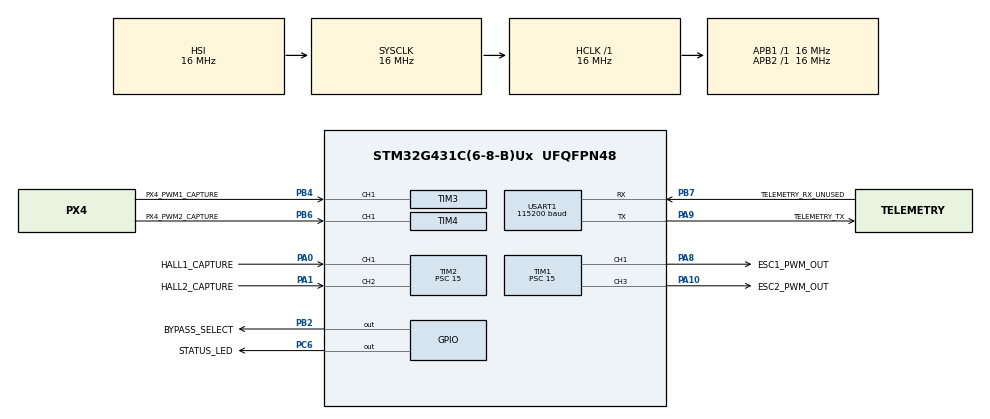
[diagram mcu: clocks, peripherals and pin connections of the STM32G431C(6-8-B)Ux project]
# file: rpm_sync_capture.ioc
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Mcu.Family=STM32G4
Mcu.Name=STM32G431C(6-8-B)Ux
Mcu.Package=UFQFPN48
NVIC.PriorityGroup=NVIC_PRIORITYGROUP_4
NVIC.TIM2_IRQn=true\:0\:0\:false\:false\:true\:true\:true\:true
NVIC.TIM3_IRQn=true\:1\:0\:false\:false\:true\:true\:true\:true
NVIC.TIM4_IRQn=true\:1\:0\:false\:false\:true\:true\:true\:true
PA0.GPIO_Label=HALL1_CAPTURE
PA0.Signal=S_TIM2_CH1
PA1.GPIO_Label=HALL2_CAPTURE
PA1.Signal=S_TIM2_CH2
PB4.GPIO_Label=PX4_PWM1_CAPTURE
PB4.Signal=S_TIM3_CH1
PA8.GPIO_Label=ESC1_PWM_OUT
PA8.Signal=S_TIM1_CH1
PA10.GPIO_Label=ESC2_PWM_OUT
PA10.Signal=S_TIM1_CH3
PA13.Mode=Serial_Wire
PA13.Signal=SYS_JTMS-SWDIO
PA14.Mode=Serial_Wire
PA14.Signal=SYS_JTCK-SWCLK
PB6.GPIO_Label=PX4_PWM2_CAPTURE
PB6.Signal=S_TIM4_CH1
PA9.GPIO_Label=TELEMETRY_TX
PA9.Mode=Asynchronous
PA9.Signal=USART1_TX
PB7.GPIO_Label=TELEMETRY_RX_UNUSED
PB7.Mode=Asynchronous
PB7.Signal=USART1_RX
PC6.GPIO_Label=STATUS_LED
PC6.GPIO_Speed=GPIO_SPEED_FREQ_LOW
PC6.PinState=GPIO_PIN_RESET
PC6.Signal=GPIO_Output
PB2.GPIO_Label=BYPASS_SELECT
PB2.GPIO_Speed=GPIO_SPEED_FREQ_LOW
PB2.PinState=GPIO_PIN_RESET
PB2.Signal=GPIO_Output
ProjectManager.HeapSize=0x200
ProjectManager.StackSize=0x400
ProjectManager.TargetToolchain=STM32CubeIDE
RCC.ADC12Freq_Value=16000000
RCC.AHBFreq_Value=16000000
RCC.APB1Freq_Value=16000000
RCC.APB1TimFreq_Value=16000000
RCC.APB2Freq_Value=16000000
RCC.APB2TimFreq_Value=16000000
RCC.CortexFreq_Value=16000000
RCC.EXTERNAL_CLOCK_VALUE=12288000
RCC.HCLKFreq_Value=16000000
RCC.HSE_VALUE=8000000
RCC.HSI48_VALUE=48000000
RCC.HSI_VALUE=16000000
RCC.LSE_VALUE=32768
RCC.SYSCLKFreq_VALUE=16000000
RCC.USBFreq_Value=64000000
RCC.VCOOutputFreq_Value=128000000
SH.S_TIM2_CH1.0=TIM2_CH1,Input_Capture1_from_TI1
SH.S_TIM2_CH2.0=TIM2_CH2,Input_Capture2_from_TI2
SH.S_TIM3_CH1.0=TIM3_CH1,PWM_Input_1
SH.S_TIM4_CH1.0=TIM4_CH1,PWM_Input_1
SH.S_TIM1_CH1.0=TIM1_CH1,PWM Generation1 CH1
SH.S_TIM1_CH3.0=TIM1_CH3,PWM Generation3 CH3
TIM2.AutoReloadPreload=TIM_AUTORELOAD_PRELOAD_DISABLE
TIM2.Channel-Input_Capture1_from_TI1=TIM_CHANNEL_1
TIM2.Channel-Input_Capture2_from_TI2=TIM_CHANNEL_2
TIM2.ClockDivision=TIM_CLOCKDIVISION_DIV1
TIM2.CounterMode=TIM_COUNTERMODE_UP
TIM2.ICFilter_CH1=0
TIM2.ICFilter_CH2=0
TIM2.ICPolarity_CH1=TIM_INPUTCHANNELPOLARITY_RISING
TIM2.ICPolarity_CH2=TIM_INPUTCHANNELPOLARITY_RISING
TIM2.ICPrescaler-Input_Capture1_from_TI1=TIM_ICPSC_DIV1
TIM2.ICPrescaler-Input_Capture2_from_TI2=TIM_ICPSC_DIV1
TIM2.ICSelection-Input_Capture1_from_TI1=TIM_ICSELECTION_DIRECTTI
TIM2.ICSelection-Input_Capture2_from_TI2=TIM_ICSELECTION_DIRECTTI
TIM2.Period=4294967295
TIM2.Prescaler=15
TIM2.TIM_MasterOutputTrigger=TIM_TRGO_RESET
TIM2.TIM_MasterSlaveMode=TIM_MASTERSLAVEMODE_DISABLE
TIM3.AutoReloadPreload=TIM_AUTORELOAD_PRELOAD_DISABLE
TIM3.Channel-PWM_Input_direct=TIM_CHANNEL_1
TIM3.Channel-PWM_Input_indirect=TIM_CHANNEL_2
TIM3.ClockDivision=TIM_CLOCKDIVISION_DIV1
TIM3.CounterMode=TIM_COUNTERMODE_UP
TIM3.ICFilter_CH1=0
TIM3.ICFilter_CH2=0
TIM3.ICPolarity_CH1=TIM_INPUTCHANNELPOLARITY_RISING
TIM3.ICPolarity_CH2=TIM_INPUTCHANNELPOLARITY_FALLING
TIM3.ICPrescaler-PWM_Input_direct=TIM_ICPSC_DIV1
TIM3.ICPrescaler-PWM_Input_indirect=TIM_ICPSC_DIV1
TIM3.ICSelection-PWM_Input_direct=TIM_ICSELECTION_DIRECTTI
TIM3.ICSelection-PWM_Input_indirect=TIM_ICSELECTION_INDIRECTTI
TIM3.Period=65535
TIM3.Prescaler=15
TIM3.SlaveMode=TIM_SLAVEMODE_RESET
TIM3.TIM_MasterOutputTrigger=TIM_TRGO_RESET
TIM3.TIM_MasterSlaveMode=TIM_MASTERSLAVEMODE_DISABLE
TIM3.TriggerSource=TIM_TS_TI1FP1
TIM4.AutoReloadPreload=TIM_AUTORELOAD_PRELOAD_DISABLE
TIM4.Channel-PWM_Input_direct=TIM_CHANNEL_1
TIM4.Channel-PWM_Input_indirect=TIM_CHANNEL_2
TIM4.ClockDivision=TIM_CLOCKDIVISION_DIV1
TIM4.CounterMode=TIM_COUNTERMODE_UP
TIM4.ICFilter_CH1=0
TIM4.ICFilter_CH2=0
TIM4.ICPolarity_CH1=TIM_INPUTCHANNELPOLARITY_RISING
TIM4.ICPolarity_CH2=TIM_INPUTCHANNELPOLARITY_FALLING
TIM4.ICPrescaler-PWM_Input_direct=TIM_ICPSC_DIV1
TIM4.ICPrescaler-PWM_Input_indirect=TIM_ICPSC_DIV1
TIM4.ICSelection-PWM_Input_direct=TIM_ICSELECTION_DIRECTTI
TIM4.ICSelection-PWM_Input_indirect=TIM_ICSELECTION_INDIRECTTI
TIM4.Period=65535
TIM4.Prescaler=15
TIM4.SlaveMode=TIM_SLAVEMODE_RESET
TIM4.TIM_MasterOutputTrigger=TIM_TRGO_RESET
TIM4.TIM_MasterSlaveMode=TIM_MASTERSLAVEMODE_DISABLE
TIM4.TriggerSource=TIM_TS_TI1FP1
TIM1.AutoReloadPreload=TIM_AUTORELOAD_PRELOAD_ENABLE
TIM1.AutomaticOutput=TIM_AUTOMATICOUTPUT_DISABLE
TIM1.Break2Filter=0
TIM1.Break2Polarity=TIM_BREAK2POLARITY_HIGH
TIM1.Break2State=TIM_BREAK2_DISABLE
TIM1.BreakFilter=0
TIM1.BreakPolarity=TIM_BREAKPOLARITY_HIGH
TIM1.BreakState=TIM_BREAK_DISABLE
TIM1.Channel-PWM\ Generation1\ CH1=TIM_CHANNEL_1
TIM1.Channel-PWM\ Generation3\ CH3=TIM_CHANNEL_3
TIM1.ClearInputSource=TIM_CLEARINPUTSOURCE_NONE
TIM1.ClockDivision=TIM_CLOCKDIVISION_DIV1
TIM1.CounterMode=TIM_COUNTERMODE_UP
TIM1.LockLevel=TIM_LOCKLEVEL_OFF
TIM1.OCFastMode_PWM-PWM\ Generation1\ CH1=TIM_OCFAST_DISABLE
TIM1.OCFastMode_PWM-PWM\ Generation3\ CH3=TIM_OCFAST_DISABLE
TIM1.OCIdleState_1=TIM_OCIDLESTATE_RESET
TIM1.OCIdleState_3=TIM_OCIDLESTATE_RESET
TIM1.OCMode_PWM-PWM\ Generation1\ CH1=TIM_OCMODE_PWM1
TIM1.OCMode_PWM-PWM\ Generation3\ CH3=TIM_OCMODE_PWM1
TIM1.OCPolarity_1=TIM_OCPOLARITY_HIGH
TIM1.OCPolarity_3=TIM_OCPOLARITY_HIGH
TIM1.OffStateIDLEMode=TIM_OSSI_DISABLE
TIM1.OffStateRunMode=TIM_OSSR_DISABLE
TIM1.Period=2499
TIM1.Prescaler=15
TIM1.PulseNoDither_1=0
TIM1.PulseNoDither_3=0
TIM1.RepetitionCounter=0
TIM1.SourceBRK2COMP1=TIM_BREAKINPUTSOURCE_DISABLE
TIM1.SourceBRK2COMP2=TIM_BREAKINPUTSOURCE_DISABLE
TIM1.SourceBRK2DigInput=TIM_BREAKINPUTSOURCE_DISABLE
TIM1.SourceBRKCOMP1=TIM_BREAKINPUTSOURCE_DISABLE
TIM1.SourceBRKCOMP2=TIM_BREAKINPUTSOURCE_DISABLE
TIM1.SourceBRKDigInput=TIM_BREAKINPUTSOURCE_DISABLE
TIM1.TIM_MasterOutputTrigger=TIM_TRGO_RESET
TIM1.TIM_MasterOutputTrigger2=TIM_TRGO2_RESET
TIM1.TIM_MasterSlaveMode=TIM_MASTERSLAVEMODE_DISABLE
USART1.BaudRate=115200
USART1.VirtualMode-Asynchronous=VM_ASYNC
VP_SYS_VS_DBSignals.Mode=DisableDeadBatterySignals
board=custom

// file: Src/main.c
/* USER CODE BEGIN Header */
/**
  ******************************************************************************
  * @file           : main.c
  * @brief          : Main program body
  ******************************************************************************
  * @attention
  *
  * Copyright (c) 2026 STMicroelectronics.
  * All rights reserved.
  *
  * This software is licensed under terms that can be found in the LICENSE file
  * in the root directory of this software component.
  * If no LICENSE file comes with this software, it is provided AS-IS.
  *
  ******************************************************************************
  */
/* USER CODE END Header */
#include "main.h"
#include "tim.h"
#include "usart.h"
#include "gpio.h"

/* USER CODE BEGIN Includes */

#include "hall_capture.h"
#include "pwm_input_capture.h"
#include "pwm_input_evaluator.h"
#include "rpm_evaluator.h"
#include "system_controller_adapter.h"
#include <stdio.h>

/* USER CODE END Includes */

/* USER CODE BEGIN PD */

#define STATUS_LED_PERIOD_MS 500U
#define TELEMETRY_PERIOD_MS 1000U
#define TELEMETRY_TIMEOUT_MS 20U
#define BYPASS_SELECT_TEST_ENABLE 0U
#define BYPASS_SELECT_TEST_PERIOD_MS 2000U
#define CONTROL_PERIOD_MS 20U
#define SYNC_CONTROL_ENABLE 1U

/* USER CODE END PD */

/* USER CODE BEGIN PV */

static uint32_t last_led_tick_ms;
static uint32_t last_telemetry_tick_ms;
static uint32_t last_bypass_tick_ms;
static uint32_t last_control_tick_ms;
static HallCaptureSnapshot hall_snapshots[2];
static RpmEvaluationResult rpm_results[2];
static PwmInputCaptureSnapshot pwm_input_snapshots[2];
static PwmInputEvaluationResult pwm_input_results[2];
static SystemControllerAdapterResult controller_result;
static uint8_t capture_telemetry[320];
static uint8_t pwm_input_telemetry[320];
static uint8_t ctrl_telemetry[256];
static const uint8_t telemetry_heartbeat[] =
  "rpm_sync_bringup,v1,board=weact_g431_qfn48,mode=MONITOR_ONLY\r\n";

/* USER CODE END PV */

void SystemClock_Config(void);

int main(void)
{

  /* MCU Configuration--------------------------------------------------------*/

  /* Reset of all peripherals, Initializes the Flash interface and the Systick. */
  HAL_Init();

  /* Configure the system clock */
  SystemClock_Config();

  /* Initialize all configured peripherals */
  MX_GPIO_Init();
  MX_TIM2_Init();
  MX_TIM3_Init();
  MX_TIM4_Init();
  MX_USART1_UART_Init();
  MX_TIM1_Init();
  /* USER CODE BEGIN 2 */

  last_led_tick_ms = HAL_GetTick();
  last_telemetry_tick_ms = last_led_tick_ms;
  last_bypass_tick_ms = last_led_tick_ms;
  (void)HAL_UART_Transmit(&huart1,
                         (uint8_t *)telemetry_heartbeat,
                         sizeof(telemetry_heartbeat) - 1U,
                         TELEMETRY_TIMEOUT_MS);

  if (HallCapture_Start(&htim2) != HAL_OK)
  {
    Error_Handler();
  }

  if (PwmInputCapture_Start(&htim3, &htim4) != HAL_OK)
  {
    Error_Handler();
  }

  __HAL_TIM_ENABLE_OCxPRELOAD(&htim1, TIM_CHANNEL_1);
  __HAL_TIM_ENABLE_OCxPRELOAD(&htim1, TIM_CHANNEL_3);
  __HAL_TIM_SET_COMPARE(&htim1, TIM_CHANNEL_1, 0U);
  __HAL_TIM_SET_COMPARE(&htim1, TIM_CHANNEL_3, 0U);
  if (HAL_TIM_PWM_Start(&htim1, TIM_CHANNEL_1) != HAL_OK)
  {
    Error_Handler();
  }
  if (HAL_TIM_PWM_Start(&htim1, TIM_CHANNEL_3) != HAL_OK)
  {
    Error_Handler();
  }

  SystemControllerAdapter_Init();
  SystemControllerAdapter_SetSyncEnabled(SYNC_CONTROL_ENABLE);
  last_control_tick_ms = last_led_tick_ms;

  /* USER CODE END 2 */

  /* Infinite loop */
  while (1)
  {

    /* USER CODE BEGIN 3 */
    const uint32_t now_ms = HAL_GetTick();

    if ((now_ms - last_led_tick_ms) >= STATUS_LED_PERIOD_MS)
    {
      last_led_tick_ms = now_ms;
      HAL_GPIO_TogglePin(STATUS_LED_GPIO_Port, STATUS_LED_Pin);
    }

    if ((now_ms - last_control_tick_ms) >= CONTROL_PERIOD_MS)
    {
      const uint32_t previous_control_tick = last_control_tick_ms;
      last_control_tick_ms = now_ms;
      const float dt_seconds =
          (float)(now_ms - previous_control_tick) / 1000.0F;

      HallCapture_Read(hall_snapshots);
      PwmInputCapture_Read(pwm_input_snapshots);
      controller_result = SystemControllerAdapter_Step(
          hall_snapshots, &pwm_input_snapshots[0], now_ms, dt_seconds);

      __HAL_TIM_SET_COMPARE(&htim1, TIM_CHANNEL_1, controller_result.pwm1_us);
      __HAL_TIM_SET_COMPARE(&htim1, TIM_CHANNEL_3, controller_result.pwm2_us);

      const uint8_t sync_active = (controller_result.state == 2U);
      HAL_GPIO_WritePin(BYPASS_SELECT_GPIO_Port, BYPASS_SELECT_Pin,
                        (sync_active && controller_result.select_corrected) ?
                        GPIO_PIN_SET : GPIO_PIN_RESET);
    }

#if BYPASS_SELECT_TEST_ENABLE
    /* Logic-analyzer-only bypass-select exercise. Disabled by default so
       PB2 stays low and the external HCT157 keeps selecting PX4 A inputs. */
    if ((now_ms - last_bypass_tick_ms) >= BYPASS_SELECT_TEST_PERIOD_MS)
    {
      last_bypass_tick_ms = now_ms;
      HAL_GPIO_TogglePin(BYPASS_SELECT_GPIO_Port, BYPASS_SELECT_Pin);
    }
#endif

    if ((now_ms - last_telemetry_tick_ms) >= TELEMETRY_PERIOD_MS)
    {
      last_telemetry_tick_ms = now_ms;
      HallCapture_Read(hall_snapshots);
      const uint32_t hall_now_ms = HAL_GetTick();
      for (uint32_t channel = 0U; channel < 2U; ++channel)
      {
        const RpmEvaluationInput input = {
          hall_snapshots[channel].period_ticks,
          hall_snapshots[channel].last_pulse_ms,
          hall_snapshots[channel].has_pulse,
          hall_snapshots[channel].has_period
        };
        rpm_results[channel] =
          RpmEvaluator_EvaluateConfigured(&input, hall_now_ms);
      }
      const int telemetry_length = snprintf(
        (char *)capture_telemetry,
        sizeof(capture_telemetry),
        "rpm_sync_capture,v2,t_ms=%lu,ch1_valid=%u,ch1_period_us=%lu,"
        "ch1_age_ms=%lu,ch1_raw_rpm=%lu,ch1_rpm=%lu,ch1_status=%s,"
        "ch2_valid=%u,ch2_period_us=%lu,ch2_age_ms=%lu,ch2_raw_rpm=%lu,"
        "ch2_rpm=%lu,ch2_status=%s\r\n",
        (unsigned long)hall_now_ms,
        (unsigned int)hall_snapshots[0].has_period,
        (unsigned long)rpm_results[0].period_ticks,
        (unsigned long)(hall_now_ms - hall_snapshots[0].last_pulse_ms),
        (unsigned long)rpm_results[0].raw_rpm,
        (unsigned long)rpm_results[0].rpm,
        RpmEvaluator_StatusName(rpm_results[0].status),
        (unsigned int)hall_snapshots[1].has_period,
        (unsigned long)rpm_results[1].period_ticks,
        (unsigned long)(hall_now_ms - hall_snapshots[1].last_pulse_ms),
        (unsigned long)rpm_results[1].raw_rpm,
        (unsigned long)rpm_results[1].rpm,
        RpmEvaluator_StatusName(rpm_results[1].status));

      if ((telemetry_length > 0) &&
          ((size_t)telemetry_length < sizeof(capture_telemetry)))
      {
        (void)HAL_UART_Transmit(&huart1,
                               capture_telemetry,
                               (uint16_t)telemetry_length,
                               TELEMETRY_TIMEOUT_MS);
      }

      PwmInputCapture_Read(pwm_input_snapshots);
      const uint32_t pwm_input_now_ms = HAL_GetTick();
      for (uint32_t channel = 0U; channel < 2U; ++channel)
      {
        const PwmInputEvaluationInput input = {
          pwm_input_snapshots[channel].pulse_width_us,
          pwm_input_snapshots[channel].last_update_ms,
          pwm_input_snapshots[channel].has_sample
        };
        pwm_input_results[channel] =
          PwmInputEvaluator_EvaluateConfigured(&input, pwm_input_now_ms);
      }
      const int pwm_input_telemetry_length = snprintf(
        (char *)pwm_input_telemetry,
        sizeof(pwm_input_telemetry),
        "rpm_sync_pwm_input,v1,t_ms=%lu,"
        "ch1_seen=%u,ch1_period_us=%lu,ch1_raw_us=%u,ch1_us=%u,"
        "ch1_age_ms=%lu,ch1_status=%s,"
        "ch2_seen=%u,ch2_period_us=%lu,ch2_raw_us=%u,ch2_us=%u,"
        "ch2_age_ms=%lu,ch2_status=%s\r\n",
        (unsigned long)pwm_input_now_ms,
        (unsigned int)pwm_input_snapshots[0].has_sample,
        (unsigned long)pwm_input_snapshots[0].period_us,
        (unsigned int)pwm_input_results[0].raw_pulse_width_us,
        (unsigned int)pwm_input_results[0].pulse_width_us,
        (unsigned long)(pwm_input_now_ms -
                        pwm_input_snapshots[0].last_update_ms),
        PwmInputEvaluator_StatusName(pwm_input_results[0].status),
        (unsigned int)pwm_input_snapshots[1].has_sample,
        (unsigned long)pwm_input_snapshots[1].period_us,
        (unsigned int)pwm_input_results[1].raw_pulse_width_us,
        (unsigned int)pwm_input_results[1].pulse_width_us,
        (unsigned long)(pwm_input_now_ms -
                        pwm_input_snapshots[1].last_update_ms),
        PwmInputEvaluator_StatusName(pwm_input_results[1].status));

      if ((pwm_input_telemetry_length > 0) &&
          ((size_t)pwm_input_telemetry_length < sizeof(pwm_input_telemetry)))
      {
        (void)HAL_UART_Transmit(&huart1,
                               pwm_input_telemetry,
                               (uint16_t)pwm_input_telemetry_length,
                               TELEMETRY_TIMEOUT_MS);
      }

      const int ctrl_telemetry_length = snprintf(
        (char *)ctrl_telemetry,
        sizeof(ctrl_telemetry),
        "rpm_sync_ctrl,v1,t_ms=%lu,base_us=%u,pwm1_us=%u,pwm2_us=%u,"
        "rpm1=%lu,rpm2=%lu,error_rpm=%ld,error_percent=%ld,"
        "correction_us=%ld,select=%u,state=%u,fault=0x%lx\r\n",
        (unsigned long)now_ms,
        (unsigned int)controller_result.base_pwm_us,
        (unsigned int)controller_result.pwm1_us,
        (unsigned int)controller_result.pwm2_us,
        (unsigned long)controller_result.rpm1,
        (unsigned long)controller_result.rpm2,
        (long)controller_result.error_rpm,
        (long)controller_result.error_percent,
        (long)controller_result.correction_us,
        (unsigned int)controller_result.select_corrected,
        (unsigned int)controller_result.state,
        (unsigned long)controller_result.fault_flags);

      if ((ctrl_telemetry_length > 0) &&
          ((size_t)ctrl_telemetry_length < sizeof(ctrl_telemetry)))
      {
        (void)HAL_UART_Transmit(&huart1,
                               ctrl_telemetry,
                               (uint16_t)ctrl_telemetry_length,
                               TELEMETRY_TIMEOUT_MS);
      }
    }
  }
  /* USER CODE END 3 */
}

void SystemClock_Config(void)
{
  RCC_OscInitTypeDef RCC_OscInitStruct = {0};
  RCC_ClkInitTypeDef RCC_ClkInitStruct = {0};

  /** Configure the main internal regulator output voltage
  */
  HAL_PWREx_ControlVoltageScaling(PWR_REGULATOR_VOLTAGE_SCALE1);

  /** Initializes the RCC Oscillators according to the specified parameters
  * in the RCC_OscInitTypeDef structure.
  */
  RCC_OscInitStruct.OscillatorType = RCC_OSCILLATORTYPE_HSI;
  RCC_OscInitStruct.HSIState = RCC_HSI_ON;
  RCC_OscInitStruct.HSICalibrationValue = RCC_HSICALIBRATION_DEFAULT;
  RCC_OscInitStruct.PLL.PLLState = RCC_PLL_NONE;
  if (HAL_RCC_OscConfig(&RCC_OscInitStruct) != HAL_OK)
  {
    Error_Handler();
  }

  /** Initializes the CPU, AHB and APB buses clocks
  */
  RCC_ClkInitStruct.ClockType = RCC_CLOCKTYPE_HCLK|RCC_CLOCKTYPE_SYSCLK
                              |RCC_CLOCKTYPE_PCLK1|RCC_CLOCKTYPE_PCLK2;
  RCC_ClkInitStruct.SYSCLKSource = RCC_SYSCLKSOURCE_HSI;
  RCC_ClkInitStruct.AHBCLKDivider = RCC_SYSCLK_DIV1;
  RCC_ClkInitStruct.APB1CLKDivider = RCC_HCLK_DIV1;
  RCC_ClkInitStruct.APB2CLKDivider = RCC_HCLK_DIV1;

  if (HAL_RCC_ClockConfig(&RCC_ClkInitStruct, FLASH_LATENCY_0) != HAL_OK)
  {
    Error_Handler();
  }
}

/* USER CODE BEGIN 4 */

void HAL_TIM_IC_CaptureCallback(TIM_HandleTypeDef *htim)
{
  HallCapture_OnInterrupt(htim);
  PwmInputCapture_OnInterrupt(htim);
}

/* USER CODE END 4 */

void Error_Handler(void)
{
  __disable_irq();
  while (1)
  {
  }
}
